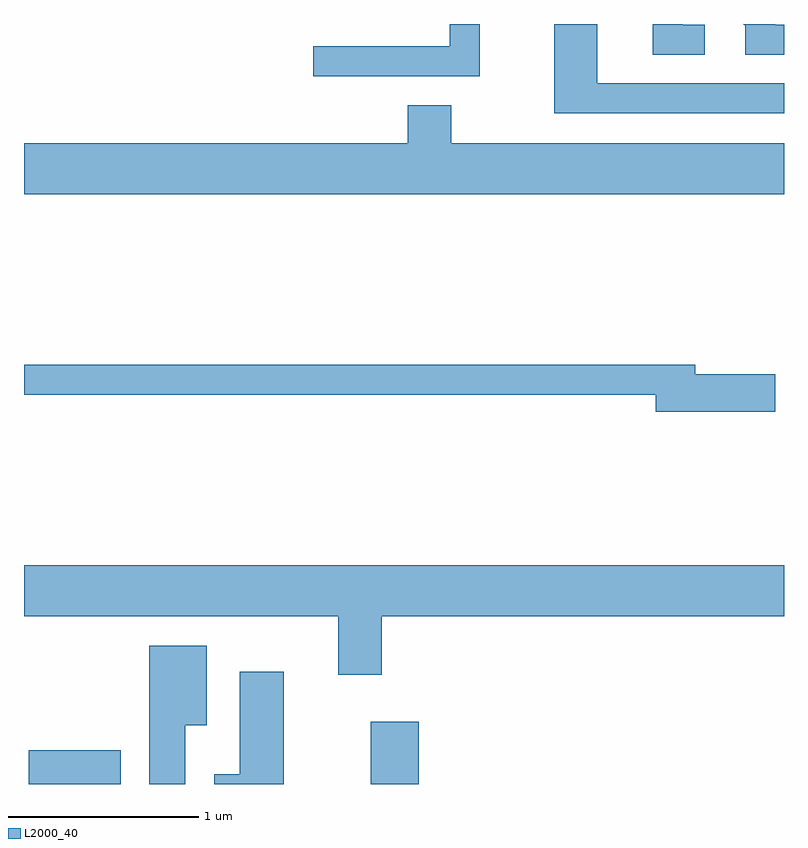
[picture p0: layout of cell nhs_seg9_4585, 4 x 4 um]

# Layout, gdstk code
import gdstk
lib = gdstk.Library(unit=1e-6, precision=1e-09)
def R(c, l, rs):  # rectangles x0, y0, x1, y1
    for r in rs: c.add(gdstk.rectangle(r[:2], r[2:], *l))
def P(c, l, *ps):  # polygons
    for p in ps: c.add(gdstk.Polygon(p, *l))
L2000_40 = (2000, 40)

nhs_seg9_4585 = lib.new_cell('nhs_seg9_4585')
R(nhs_seg9_4585, L2000_40, [(319.636,2046.432,320.119,2046.609), (321.436,2046.432,321.689,2046.759)])
P(nhs_seg9_4585, L2000_40, [(323.611,2050.119),(322.629,2050.119),(322.629,2050.432),(322.401,2050.432),(322.401,2049.961),(323.611,2049.961)],
  [(323.611,2050.429),(323.564,2050.429),(323.564,2050.432),(323.397,2050.432),(323.406,2050.423),(323.406,2050.271),(323.611,2050.271)],
  [(322.009,2050.432),(321.851,2050.432),(321.851,2050.314),(321.133,2050.314),(321.133,2050.156),(322.009,2050.156)],
  [(323.193,2050.429),(323.079,2050.429),(323.079,2050.432),(322.921,2050.432),(322.921,2050.271),(323.193,2050.271)],
  [(321.631,2050.004),(321.631,2049.804),(319.611,2049.804),(319.611,2049.536),(323.611,2049.536),(323.611,2049.804),(321.859,2049.804),(321.859,2050.004)],
  [(323.564,2048.589),(323.144,2048.589),(323.144,2048.639),(319.611,2048.639),(319.611,2048.481),(322.936,2048.481),(322.936,2048.391),(323.564,2048.391)],
  [(321.494,2047.316),(323.611,2047.316),(323.611,2047.584),(319.611,2047.584),(319.611,2047.316),(321.266,2047.316),(321.266,2047.006),(321.494,2047.006)],
  [(320.459,2046.741),(320.574,2046.741),(320.574,2047.159),(320.271,2047.159),(320.271,2046.432),(320.459,2046.432)],
  [(320.979,2047.024),(320.746,2047.024),(320.746,2046.484),(320.611,2046.484),(320.611,2046.432),(320.979,2046.432)])

lib.write_gds('nhs_seg9_4585.gds')
